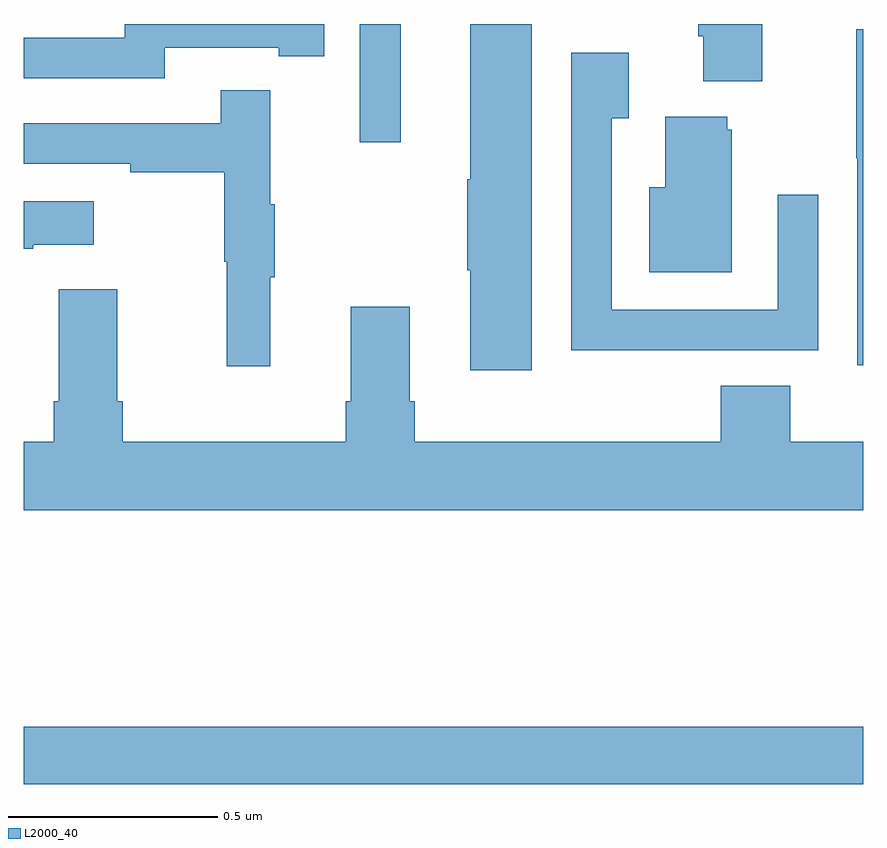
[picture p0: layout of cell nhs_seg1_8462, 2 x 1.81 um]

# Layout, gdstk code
import gdstk
lib = gdstk.Library(unit=1e-6, precision=1e-09)
def R(c, l, rs):  # rectangles x0, y0, x1, y1
    for r in rs: c.add(gdstk.rectangle(r[:2], r[2:], *l))
def P(c, l, *ps):  # polygons
    for p in ps: c.add(gdstk.Polygon(p, *l))
L2000_40 = (2000, 40)

nhs_seg1_8462 = lib.new_cell('nhs_seg1_8462')
R(nhs_seg1_8462, L2000_40, [(216,576.388,218,576.524), (216.801,577.917,216.898,578.199)])
P(nhs_seg1_8462, L2000_40, [(217.759,578.199),(217.607,578.199),(217.607,578.17),(217.619,578.17),(217.619,578.063),(217.759,578.063)],
  [(217.21,578.199),(217.064,578.199),(217.064,577.829),(217.057,577.829),(217.057,577.612),(217.064,577.612),(217.064,577.374),(217.21,577.374)],
  [(216.336,578.142),(216.608,578.142),(216.608,578.122),(216.716,578.122),(216.716,578.199),(216.24,578.199),(216.24,578.166),(216,578.166),(216,578.07),(216.336,578.07)],
  [(218,578.186),(217.984,578.186),(217.984,577.879),(217.986,577.879),(217.986,577.386),(218,577.386)],
  [(217.577,577.422),(217.893,577.422),(217.893,577.792),(217.797,577.792),(217.797,577.518),(217.401,577.518),(217.401,577.975),(217.441,577.975),(217.441,578.131),(217.305,578.131),(217.305,577.421),(217.577,577.421)],
  [(216.587,577.595),(216.598,577.595),(216.598,577.769),(216.587,577.769),(216.587,578.041),(216.469,578.041),(216.469,577.962),(216,577.962),(216,577.866),(216.253,577.866),(216.253,577.846),(216.477,577.846),(216.477,577.632),(216.484,577.632),(216.484,577.383),(216.587,577.383)],
  [(217.687,577.947),(217.676,577.947),(217.676,577.978),(217.529,577.978),(217.529,577.81),(217.49,577.81),(217.49,577.607),(217.687,577.607)],
  [(216.023,577.673),(216.166,577.673),(216.166,577.777),(216,577.777),(216,577.663),(216.023,577.663)],
  [(218,577.204),(217.826,577.204),(217.826,577.337),(217.661,577.337),(217.661,577.204),(216.932,577.204),(216.932,577.3),(216.919,577.3),(216.919,577.525),(216.779,577.525),(216.779,577.3),(216.767,577.3),(216.767,577.204),(216.236,577.204),(216.236,577.3),(216.223,577.3),(216.223,577.567),(216.083,577.567),(216.083,577.3),(216.071,577.3),(216.071,577.204),(216,577.204),(216,577.04),(218,577.04)])

lib.write_gds('nhs_seg1_8462.gds')
